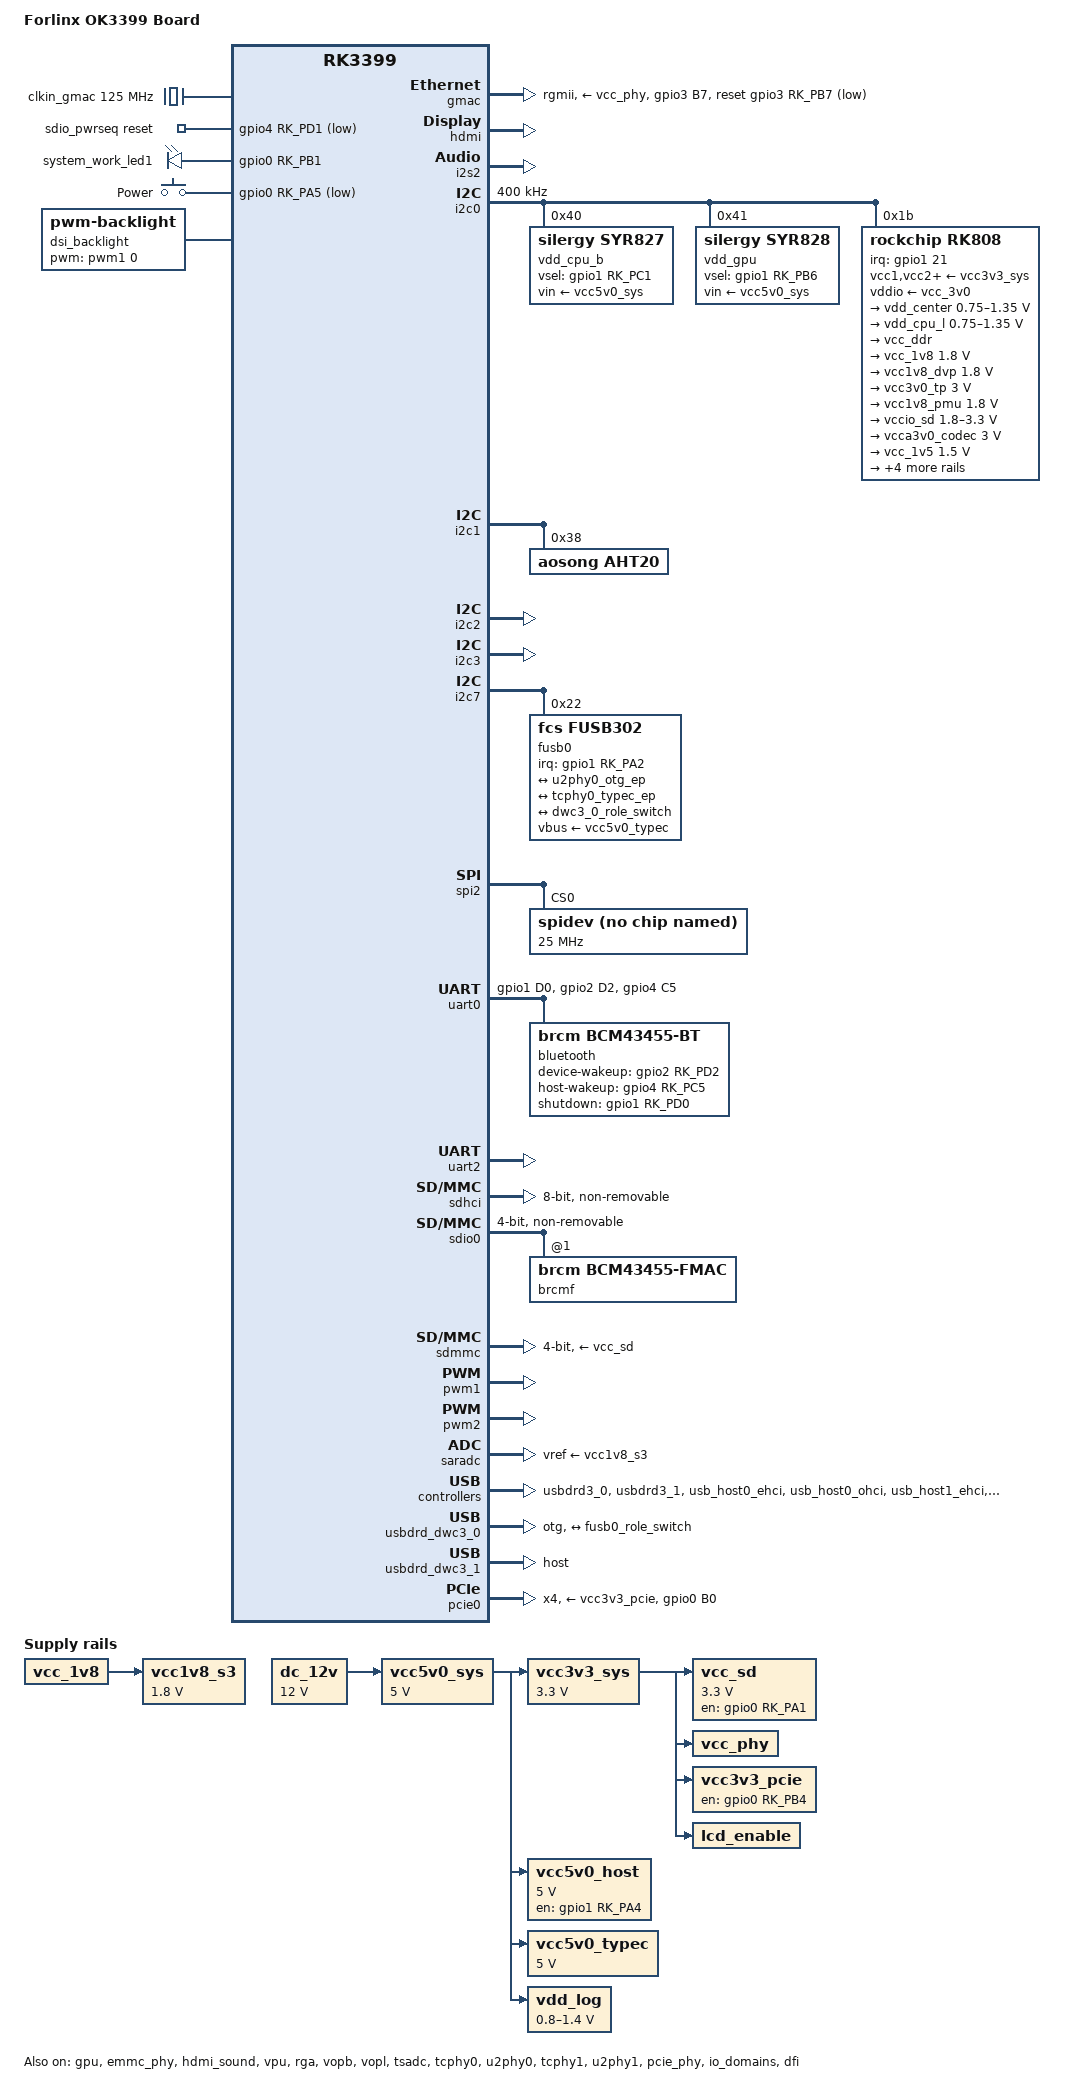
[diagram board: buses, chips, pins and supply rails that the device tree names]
// SPDX-License-Identifier: GPL-2.0+
/dts-v1/;
/*
 * Device Tree for Forlinx OK3399 core board (mainline style)
 * Based on: ok3399.dts (BSP) → mainline template adaptation
 * PMIC topology: RK808 + Syr827 (vdd_cpu_b) + Syr828 (vdd_gpu) — identical to NanoPC-T4
 *
 * REVISION NOTES (核验后修正):
 *   1. 补 dt-bindings/mipi/dsi.h（原文件必编译失败）
 *   2. 删除 uart0_gpios —— 它与 uart0_rts 争用 GPIO2_C3，会把 RTS 切成 GPIO
 *   3. 补蓝牙三个 GPIO 的 pinctrl mux
 *   4. 补 GMAC 复位脚 GPIO3_PB7 的 pinctrl（rgmii_pins 不含该脚）
 *   5. 删除重复的 HDMI 声卡，只保留 &hdmi_sound
 *   6. PCIe / USB host 供电挂上；删除死配置
 *   7. fusb302 属性改为标准 sink-pdos / op-sink-microwatt
 *
 * 所有标 "TODO(原理图)" 的地方必须对照底板原理图确认后才能上板。
 */

#include <dt-bindings/input/input.h>
#include <dt-bindings/input/linux-event-codes.h>
#include <dt-bindings/leds/common.h>
#include <dt-bindings/pwm/pwm.h>
#include <dt-bindings/usb/pd.h>
#include <dt-bindings/interrupt-controller/irq.h>
#include <dt-bindings/gpio/gpio.h>
/* NOTE: 主线 6.18 没有 dt-bindings/mipi/dsi.h（核验报告 FIX-1 给的路径是错的）。
 * MIPI_DSI_MODE_* 只定义在 include/drm/drm_mipi_dsi.h（C 头，dts 用不了），
 * 主线 rockchip dts 里也没有任何一块板用这些宏。DSI 面板段因此整体停用。 */
#include "rk3399.dtsi"

/ {
	model = "Forlinx OK3399 Board";
	compatible = "forlinx,ok3399", "rockchip,rk3399";

	aliases {
		ethernet0 = <&gmac>;
		mmc0 = <&sdhci>;
		mmc1 = <&sdmmc>;
		mmc2 = <&sdio0>;
	};

	chosen {
		stdout-path = "serial2:1500000n8";
	};

	/* ============ Fixed clocks ============ */
	clkin_gmac: external-gmac-clock {
		compatible = "fixed-clock";
		clock-frequency = <125000000>;
		clock-output-names = "clkin_gmac";
		#clock-cells = <0>;
	};

	ap6256_lpo_clk: ap6256-lpo-clock {
		compatible = "fixed-clock";
		clock-frequency = <32768>;
		clock-output-names = "ap6256_lpo_clk";
		#clock-cells = <0>;
	};

	/* ============ System regulators ============ */
	dc_12v: regulator-dc-12v {
		compatible = "regulator-fixed";
		regulator-name = "dc_12v";
		regulator-always-on;
		regulator-boot-on;
		regulator-min-microvolt = <12000000>;
		regulator-max-microvolt = <12000000>;
	};

	vcc5v0_sys: regulator-vcc5v0-sys {
		compatible = "regulator-fixed";
		regulator-name = "vcc5v0_sys";
		regulator-always-on;
		regulator-boot-on;
		regulator-min-microvolt = <5000000>;
		regulator-max-microvolt = <5000000>;
		vin-supply = <&dc_12v>;
	};

	vcc3v3_sys: regulator-vcc3v3-sys {
		compatible = "regulator-fixed";
		regulator-name = "vcc3v3_sys";
		regulator-always-on;
		regulator-boot-on;
		regulator-min-microvolt = <3300000>;
		regulator-max-microvolt = <3300000>;
		vin-supply = <&vcc5v0_sys>;
	};

	vcc5v0_host: regulator-vcc5v0-host {
		compatible = "regulator-fixed";
		regulator-name = "vcc5v0_host";
		regulator-min-microvolt = <5000000>;
		regulator-max-microvolt = <5000000>;
		/* FIX(厂商权威): VBUS 使能脚是 GPIO1_PA4，不是 GPIO4_PD1。
		 * 之前写成 GPIO4_PD1，跟 sdio-pwrseq 的 wifi-enable-h 是同一个脚，
		 * 导致 "pin gpio4-25 already requested ... cannot claim for sdio-pwrseq"
		 * ——WiFi 直接被抢死。厂商 ok3399.dts:385 确认 gpio = <&gpio1 RK_PA4>。 */
		enable-active-high;
		gpio = <&gpio1 RK_PA4 GPIO_ACTIVE_HIGH>;
		regulator-always-on;
		vin-supply = <&vcc5v0_sys>;
		pinctrl-names = "default";
		pinctrl-0 = <&host_vbus_drv>;
	};

	vcc5v0_typec: regulator-vcc5v0-typec {
		compatible = "regulator-fixed";
		regulator-name = "vcc5v0_typec";
		regulator-min-microvolt = <5000000>;
		regulator-max-microvolt = <5000000>;
		regulator-always-on;
		regulator-boot-on;
		vin-supply = <&vcc5v0_sys>;
	};

	vcc_sd: regulator-vcc-sd {
		compatible = "regulator-fixed";
		regulator-name = "vcc_sd";
		regulator-min-microvolt = <3300000>;
		regulator-max-microvolt = <3300000>;
		/* FIX(厂商权威): SD 卡电源由 GPIO0_PA1 控制，厂商 ok3399.dts:404 */
		enable-active-high;
		gpio = <&gpio0 RK_PA1 GPIO_ACTIVE_HIGH>;
		regulator-always-on;
		regulator-boot-on;
		vin-supply = <&vcc3v3_sys>;
		pinctrl-names = "default";
		pinctrl-0 = <&vcc_sd_h>;
	};

	vcc_phy: regulator-vcc-phy {
		compatible = "regulator-fixed";
		regulator-name = "vcc_phy";
		regulator-always-on;
		regulator-boot-on;
		vin-supply = <&vcc3v3_sys>;
	};

	vcc3v3_pcie: regulator-vcc3v3-pcie {
		compatible = "regulator-fixed";
		regulator-name = "vcc3v3_pcie";
		/* FIX(厂商权威): PCIe 3.3V 由 GPIO0_PB4 控制，厂商 ok3399.dts:356。
		 * 之前没有 gpio —— PCIe 槽压根没上电，这就是
		 * "PCIe link training gen1 timeout" 的真因。 */
		enable-active-high;
		gpio = <&gpio0 RK_PB4 GPIO_ACTIVE_HIGH>;
		regulator-always-on;
		regulator-boot-on;
		vin-supply = <&vcc3v3_sys>;
		pinctrl-names = "default";
		pinctrl-0 = <&pcie_drv>;
	};

	lcd_enable: regulator-lcd-enable {
		compatible = "regulator-fixed";
		regulator-name = "lcd_enable";
		regulator-always-on;
		regulator-boot-on;
		vin-supply = <&vcc3v3_sys>;
	};

	vcc1v8_s3: regulator-vcc1v8-s3 {
		compatible = "regulator-fixed";
		regulator-name = "vcc1v8_s3";
		regulator-always-on;
		regulator-boot-on;
		regulator-min-microvolt = <1800000>;
		regulator-max-microvolt = <1800000>;
		vin-supply = <&vcc_1v8>;
	};

	/* ============ VDD_LOG PWM regulator ============ */
	/* 注意：pwm2 的引脚由 rk3399.dtsi 默认为 GPIO1_C3 (pwm2_pin)。
	 * TODO(原理图): 确认 OK3399 的 vdd_log PWM 接在 GPIO1_C3，否则在 &pwm2 里覆盖 pinctrl-0 */
	vdd_log: vdd-log {
		compatible = "pwm-regulator";
		pwms = <&pwm2 0 25000 PWM_POLARITY_INVERTED>;
		regulator-name = "vdd_log";
		regulator-always-on;
		regulator-boot-on;
		regulator-min-microvolt = <800000>;
		regulator-max-microvolt = <1400000>;
		vin-supply = <&vcc5v0_sys>;
	};

	/* ============ SDIO (AP6256) power sequence ============ */
	sdio_pwrseq: sdio-pwrseq {
		compatible = "mmc-pwrseq-simple";
		clocks = <&ap6256_lpo_clk>;
		clock-names = "ext_clock";
		pinctrl-names = "default";
		pinctrl-0 = <&wifi_enable_h>;
		reset-gpios = <&gpio4 RK_PD1 GPIO_ACTIVE_LOW>;
		post-power-on-delay-ms = <100>;
	};

	/* ============ GPIO LEDs ============ */
	leds: gpio-leds {
		compatible = "gpio-leds";
		pinctrl-names = "default";
		pinctrl-0 = <&leds_gpio>;

		/* FIX: 原名 led@1 有 unit-address 却没有 reg，触发 dtc 警告 */
		led-1 {
			gpios = <&gpio0 RK_PB1 GPIO_ACTIVE_HIGH>;
			label = "system_work_led1";
			linux,default-trigger = "heartbeat";
		};
	};

	/* ============ Power key ============ */
	gpio-keys {
		compatible = "gpio-keys";
		autorepeat;
		pinctrl-names = "default";
		pinctrl-0 = <&pwr_key_pin>;

		button-power {
			debounce-interval = <10>;
			gpios = <&gpio0 RK_PA5 GPIO_ACTIVE_LOW>;
			label = "Power";
			linux,code = <KEY_POWER>;
			wakeup-source;
		};
	};

	/* ============ DSI Backlight (PWM) ============ */
	/* 注意：pwm1 默认引脚为 GPIO4_C6 (pwm1_pin)。
	 * TODO(原理图): 确认背光 PWM 实际接脚，不对就在 &pwm1 里覆盖 pinctrl-0 */
	dsi_backlight: dsi-backlight {
		compatible = "pwm-backlight";
		pwms = <&pwm1 0 25000 0>;
		brightness-levels = <0 255>;
		num-interpolated-steps = <100>;
		default-brightness-level = <80>;
		status = "okay";
	};

	/* FIX: 删除了原文件的 sound-hdmi (simple-audio-card)。
	 * rk3399.dtsi 自带的 &hdmi_sound 已经负责 HDMI 音频，两个同时存在会重复注册声卡。 */
};

/* ============ CPU / GPU power supplies ============ */
&cpu_l0 { cpu-supply = <&vdd_cpu_l>; };
&cpu_l1 { cpu-supply = <&vdd_cpu_l>; };
&cpu_l2 { cpu-supply = <&vdd_cpu_l>; };
&cpu_l3 { cpu-supply = <&vdd_cpu_l>; };
&cpu_b0 { cpu-supply = <&vdd_cpu_b>; };
&cpu_b1 { cpu-supply = <&vdd_cpu_b>; };

&gpu {
	mali-supply = <&vdd_gpu>;
	status = "okay";
};

&emmc_phy { status = "okay"; };

/* TODO: 若需要内存 devfreq，补 &dmc 节点（含 operating-points-v2、center-supply），
 * 否则 &dfi 单独启用没有意义，display-subsystem 的 devfreq 引用也是空转。 */

/* ============ Ethernet (RGMII) ============ */
&gmac {
	phy-supply = <&vcc_phy>;
	phy-mode = "rgmii";
	clock_in_out = "input";
	snps,reset-gpio = <&gpio3 RK_PB7 GPIO_ACTIVE_LOW>;
	snps,reset-active-low;
	snps,reset-delays-us = <0 10000 50000>;
	assigned-clocks = <&cru SCLK_RMII_SRC>;
	assigned-clock-parents = <&clkin_gmac>;
	pinctrl-names = "default";
	pinctrl-0 = <&rgmii_pins &phy_rst>;	/* FIX: rgmii_pins 不含 PB7，复位脚需单独 mux */
	tx_delay = <0x28>;
	rx_delay = <0x11>;
	status = "okay";
};

/* ============ HDMI ============ */
&hdmi {
	ddc-i2c-bus = <&i2c3>;
	pinctrl-names = "default";
	pinctrl-0 = <&hdmi_cec>;
	status = "okay";
};

&hdmi_sound { status = "okay"; };

&i2s2 {
	#sound-dai-cells = <0>;
	status = "okay";
};

/* ============ I2C0 — PMIC domain ============ */
&i2c0 {
	status = "okay";
	i2c-scl-rising-time-ns = <168>;
	i2c-scl-falling-time-ns = <4>;
	clock-frequency = <400000>;

	vdd_cpu_b: syr827@40 {
		compatible = "silergy,syr827";
		reg = <0x40>;
		vin-supply = <&vcc5v0_sys>;
		pinctrl-names = "default";
		pinctrl-0 = <&vsel1_gpio>;
		vsel-gpios = <&gpio1 RK_PC1 GPIO_ACTIVE_HIGH>;
		regulator-name = "vdd_cpu_b";
		regulator-min-microvolt = <712500>;
		regulator-max-microvolt = <1500000>;
		regulator-ramp-delay = <1000>;
		fcs,suspend-voltage-selector = <1>;
		regulator-always-on;
		regulator-boot-on;
		regulator-state-mem {
			regulator-off-in-suspend;
		};
	};

	vdd_gpu: syr828@41 {
		compatible = "silergy,syr828";
		reg = <0x41>;
		vin-supply = <&vcc5v0_sys>;
		pinctrl-names = "default";
		pinctrl-0 = <&vsel2_gpio>;
		vsel-gpios = <&gpio1 RK_PB6 GPIO_ACTIVE_HIGH>;
		regulator-name = "vdd_gpu";
		regulator-min-microvolt = <735000>;
		regulator-max-microvolt = <1400000>;
		regulator-ramp-delay = <1000>;
		fcs,suspend-voltage-selector = <1>;
		regulator-always-on;
		regulator-boot-on;
		regulator-state-mem {
			regulator-off-in-suspend;
		};
	};

	rk808: pmic@1b {
		compatible = "rockchip,rk808";
		reg = <0x1b>;
		interrupt-parent = <&gpio1>;
		interrupts = <21 IRQ_TYPE_LEVEL_LOW>;
		pinctrl-names = "default";
		pinctrl-0 = <&pmic_int_l>;
		system-power-controller;
		wakeup-source;
		#clock-cells = <1>;
		clock-output-names = "xin32k", "rk808-clkout2";

		/* TODO(原理图): 必须核对 RK808 各 VCC 引脚实际接的是 5V 还是 3.3V。
		 * NanoPC-T4 等板的 DCDC 输入多为 vcc5v0_sys；此处沿用原文件的 vcc3v3_sys，
		 * 接错会直接触发欠压保护。 */
		vcc1-supply = <&vcc3v3_sys>;
		vcc2-supply = <&vcc3v3_sys>;
		vcc3-supply = <&vcc3v3_sys>;
		vcc4-supply = <&vcc3v3_sys>;
		vcc6-supply = <&vcc3v3_sys>;
		vcc7-supply = <&vcc3v3_sys>;
		vcc8-supply = <&vcc3v3_sys>;
		vcc9-supply = <&vcc3v3_sys>;
		vcc10-supply = <&vcc3v3_sys>;
		vcc11-supply = <&vcc3v3_sys>;
		vcc12-supply = <&vcc3v3_sys>;
		vddio-supply = <&vcc_3v0>;

		regulators {
			vdd_center: DCDC_REG1 {
				regulator-name = "vdd_center";
				regulator-always-on;
				regulator-boot-on;
				regulator-min-microvolt = <750000>;
				regulator-max-microvolt = <1350000>;
				regulator-ramp-delay = <6001>;
				regulator-state-mem {
					regulator-off-in-suspend;
				};
			};

			vdd_cpu_l: DCDC_REG2 {
				regulator-name = "vdd_cpu_l";
				regulator-always-on;
				regulator-boot-on;
				regulator-min-microvolt = <750000>;
				regulator-max-microvolt = <1350000>;
				regulator-ramp-delay = <6001>;
				regulator-state-mem {
					regulator-off-in-suspend;
				};
			};

			vcc_ddr: DCDC_REG3 {
				regulator-name = "vcc_ddr";
				regulator-always-on;
				regulator-boot-on;
				regulator-state-mem {
					regulator-on-in-suspend;
				};
			};

			vcc_1v8: DCDC_REG4 {
				regulator-name = "vcc_1v8";
				regulator-always-on;
				regulator-boot-on;
				regulator-min-microvolt = <1800000>;
				regulator-max-microvolt = <1800000>;
				regulator-state-mem {
					regulator-on-in-suspend;
					regulator-suspend-microvolt = <1800000>;
				};
			};

			vcc1v8_dvp: LDO_REG1 {
				regulator-name = "vcc1v8_dvp";
				regulator-always-on;
				regulator-boot-on;
				regulator-min-microvolt = <1800000>;
				regulator-max-microvolt = <1800000>;
				regulator-state-mem {
					regulator-off-in-suspend;
				};
			};

			vcc3v0_tp: LDO_REG2 {
				regulator-name = "vcc3v0_tp";
				regulator-min-microvolt = <3000000>;
				regulator-max-microvolt = <3000000>;
				regulator-state-mem {
					regulator-off-in-suspend;
				};
			};

			vcc1v8_pmu: LDO_REG3 {
				regulator-name = "vcc1v8_pmu";
				regulator-always-on;
				regulator-boot-on;
				regulator-min-microvolt = <1800000>;
				regulator-max-microvolt = <1800000>;
				regulator-state-mem {
					regulator-on-in-suspend;
					regulator-suspend-microvolt = <1800000>;
				};
			};

			vccio_sd: LDO_REG4 {
				regulator-name = "vccio_sd";
				regulator-always-on;
				regulator-boot-on;
				regulator-min-microvolt = <1800000>;
				/* FIX: 3000000 -> 3300000。io_domains 的 sdmmc-supply 要 3.3V，
				 * 上限只到 3.0V 就会一直刷
				 * "vccio_sd: unsupportable voltage range: 3300000-3000000uV"。
				 * RK808 LDO 硬件范围是 1.8V-3.4V，nanopi4 官方 dts 也写 3300000。
				 * （vcc_sd 是 LDO_REG4，不是 vccio_sd —— 名字别混） */
				regulator-max-microvolt = <3300000>;
				regulator-state-mem {
					regulator-on-in-suspend;
					regulator-suspend-microvolt = <3000000>;
				};
			};

			vcca3v0_codec: LDO_REG5 {
				regulator-name = "vcca3v0_codec";
				regulator-always-on;
				regulator-boot-on;
				regulator-min-microvolt = <3000000>;
				regulator-max-microvolt = <3000000>;
				regulator-state-mem {
					regulator-off-in-suspend;
				};
			};

			vcc_1v5: LDO_REG6 {
				regulator-name = "vcc_1v5";
				regulator-min-microvolt = <1500000>;
				regulator-max-microvolt = <1500000>;
				regulator-state-mem {
					regulator-off-in-suspend;
				};
			};

			vcca1v8_codec: LDO_REG7 {
				regulator-name = "vcca1v8_codec";
				regulator-always-on;
				regulator-boot-on;
				regulator-min-microvolt = <1800000>;
				regulator-max-microvolt = <1800000>;
				regulator-state-mem {
					regulator-off-in-suspend;
				};
			};

			vcc_3v0: LDO_REG8 {
				regulator-name = "vcc_3v0";
				/* FIX: 这是 RK808 自己的 vddio 电源，必须常开 */
				regulator-always-on;
				regulator-boot-on;
				regulator-min-microvolt = <3000000>;
				regulator-max-microvolt = <3000000>;
				regulator-state-mem {
					regulator-on-in-suspend;
					regulator-suspend-microvolt = <3000000>;
				};
			};

			vcc3v3_s3: SWITCH_REG1 {
				regulator-name = "vcc3v3_s3";
				regulator-always-on;
				regulator-boot-on;
				regulator-state-mem {
					regulator-off-in-suspend;
				};
			};

			vcc3v3_s0: SWITCH_REG2 {
				regulator-name = "vcc3v3_s0";
				regulator-always-on;
				regulator-boot-on;
				regulator-state-mem {
					regulator-off-in-suspend;
				};
			};
		};
	};
};

/* ============ I2C1 — AHT20 humidity sensor ============ */
&i2c1 {
	status = "okay";
	i2c-scl-rising-time-ns = <300>;
	i2c-scl-falling-time-ns = <15>;

	aht20: humidity-sensor@38 {
		compatible = "aosong,aht20";
		reg = <0x38>;
	};
};

/* ============ I2C2 — free ============ */
&i2c2 {
	status = "okay";
	i2c-scl-rising-time-ns = <300>;
	i2c-scl-falling-time-ns = <15>;
};

/* ============ I2C3 — HDMI DDC ============ */
&i2c3 {
	status = "okay";
	i2c-scl-rising-time-ns = <450>;
	i2c-scl-falling-time-ns = <15>;
};

/* ============ I2C7 — FUSB302 Type-C PD ============ */
&i2c7 {
	status = "okay";
	i2c-scl-rising-time-ns = <300>;
	i2c-scl-falling-time-ns = <15>;

	fusb0: fusb302@22 {
		compatible = "fcs,fusb302";
		reg = <0x22>;
		interrupt-parent = <&gpio1>;
		interrupts = <RK_PA2 IRQ_TYPE_LEVEL_LOW>;
		pinctrl-names = "default";
		pinctrl-0 = <&fusb0_int>;
		vbus-supply = <&vcc5v0_typec>;
		status = "okay";

		connector {
			compatible = "usb-c-connector";
			label = "USB-C";
			data-role = "dual";
			power-role = "dual";
			try-power-role = "sink";
			/* FIX: 原 operating-mv / operating-uA 不是 usb-c-connector 的标准属性 */
			sink-pdos = <PDO_FIXED(5000, 3000, PDO_FIXED_USB_COMM)>;
			op-sink-microwatt = <15000000>;
			/* FIX: power-role="dual"(DRP) 时 tcpm 强制要求 source-pdos，
			 * 缺了就 "cannot register tcpm port" (-EINVAL)。
			 * 见 drivers/usb/typec/tcpm/tcpm.c tcpm_fw_get_caps():
			 *   if (port->port_type != TYPEC_PORT_SNK) { count_u32("source-pdos"); if (ret==0) -EINVAL }
			 * 若这个口只想做受电，把 power-role 改成 "sink" 并删掉本行。 */
			source-pdos = <PDO_FIXED(5000, 3000, PDO_FIXED_USB_COMM)>;

			ports {
				#address-cells = <1>;
				#size-cells = <0>;

				port@0 {
					reg = <0>;
					usb_con_hs: endpoint {
						remote-endpoint = <&u2phy0_otg_ep>;
					};
				};

				port@1 {
					reg = <1>;
					usb_con_ss: endpoint {
						remote-endpoint = <&tcphy0_typec_ep>;
					};
				};

				/* 角色切换端点：与 &usbdrd_dwc3_0 的 usb-role-switch 配对。
				 * 若你的内核 fusb302 走 extcon 路线，删除本 port 与 dwc3 的
				 * usb-role-switch/port，改为 extcon = <&fusb0> 即可。 */
				port@2 {
					reg = <2>;
					fusb0_role_switch: endpoint {
						remote-endpoint = <&dwc3_0_role_switch>;
					};
				};
			};
		};
	};
};

/* ============ SPI2 — spidev ============ */
&spi2 {
	status = "okay";

	/* FIX: "spidev" compatible 已被主线弃用，保留 rohm,dh2228fv 即可被 spidev 驱动接管 */
	spidev@0 {
		compatible = "rohm,dh2228fv";
		reg = <0>;
		spi-max-frequency = <25000000>;
	};
};

/* ============ UART0 — Bluetooth ============ */
&uart0 {
	pinctrl-names = "default";
	pinctrl-0 = <&uart0_xfer &uart0_cts &uart0_rts &bt_gpios>;
	status = "okay";

	bluetooth {
		compatible = "brcm,bcm43455-bt";
		clocks = <&ap6256_lpo_clk>;
		clock-names = "lpo";
		device-wakeup-gpios = <&gpio2 RK_PD2 GPIO_ACTIVE_HIGH>;
		host-wakeup-gpios = <&gpio4 RK_PC5 GPIO_ACTIVE_HIGH>;
		shutdown-gpios = <&gpio1 RK_PD0 GPIO_ACTIVE_HIGH>;
		/* FIX: 原文件在此引用 uart0_gpios，该组把 GPIO2_C3(=UART0_RTS) 切成 GPIO，
		 * 与 &uart0 的 uart0_rts 直接冲突，已删除。三个 BT 控制脚统一由 bt_gpios 配置。 */
	};
};

/* ============ UART2 — Debug console ============ */
&uart2 { status = "okay"; };

/* ============ Multimedia ============
 * 删掉了 &rkvdec / &iep / &iep_mmu / &pvtm —— 这四个是 Rockchip 4.4 BSP 专有节点，
 * mainline 6.18 的 rk3399-base.dtsi 里根本没有（label 不存在 -> dtc FATAL）。
 * mainline 对应能力：VPU 走 &vpu（hantro）、RGA 走 &rga、视频解码走 vdec 的
 * rockchip-vdec 节点（主线命名不同，需要时另行添加）。 */
&vpu { status = "okay"; };
&rga { status = "okay"; };

/* ============ Display: VOP + HDMI + DSI ============ */
&vopb_mmu { status = "okay"; };
&vopl_mmu { status = "okay"; };

&vopb {
	status = "okay";
};

&vopl {
	status = "okay";
};

/* 内核版本注意：主线 6.6+ 的 rk3399-base.dtsi 中该节点标签为 &mipi_dsi，
 * 旧内核（rk3399.dtsi 未拆分）为 &dsi。按你的内核版本二选一。 */
/* DSI 停用（HDMI 优先）。启用前需满足两个前提：
 *   1) 给 drivers/gpu/drm/panel/panel-simple.c 加 innolux,p070acb-ab1 条目
 *      （1024x600 / MIPI 4-lane / RGB888，时序见下方 panel-timing）；
 *   2) dsi,flags / dsi,format 需要 MIPI_DSI_* 宏，主线 6.18 无 dts 版头文件，
 *      要么改用数值，要么等上游添加 dt-bindings/mipi/dsi.h。
 * 在此之前保持 disabled，避免 panel@0 不 probe 拖住 DSI 主机。 */
&mipi_dsi {
	/* 同上：panel@0 的 reg=<0> 需要 1 个 address cell */
	#address-cells = <1>;
	#size-cells = <0>;
	status = "disabled";

	panel@0 {
		/* TODO(驱动): "innolux,p070acb-ab1" 不在主线 panel-simple.c 中，
		 * "simple-panel-dsi" 也不是可用 fallback。二选一：
		 *   a) 给 panel-simple.c 增加该面板条目（1024x600, MIPI 4-lane, RGB888）；
		 *   b) 换成主线已有的、时序兼容的面板 compatible。
		 * 未落地前，DSI 面板不会 probe。 */
		compatible = "innolux,p070acb-ab1";
		reg = <0>;
		backlight = <&dsi_backlight>;
		power-supply = <&lcd_enable>;

		/* dsi,flags / dsi,format 需要 MIPI_DSI_* 宏，主线无 dts 版头文件，暂不写 */
		dsi,lanes = <4>;

		/* 主线 panel-simple 现推荐 panel-timing（原 display-timings 为老式绑定） */
		panel-timing {
			clock-frequency = <64000000>;
			hactive = <1024>;
			vactive = <600>;
			hback-porch = <48>;
			hfront-porch = <40>;
			vback-porch = <16>;
			vfront-porch = <40>;
			hsync-len = <48>;
			vsync-len = <3>;
			hsync-active = <0>;
			vsync-active = <0>;
			de-active = <0>;
			pixelclk-active = <0>;
		};
	};
};

/* ============ Storage ============ */
&sdhci {
	bus-width = <8>;
	mmc-hs400-1_8v;
	mmc-hs400-enhanced-strobe;
	keep-power-in-suspend;
	non-removable;
	status = "okay";
};

&sdio0 {
	/* 显式声明，否则 wifi@1 的 reg=<1> 会被按 #address-cells=2 解析 -> reg_format warning */
	#address-cells = <1>;
	#size-cells = <0>;
	clock-frequency = <50000000>;
	clock-freq-min-max = <200000 50000000>;
	supports-sdio;
	bus-width = <4>;
	disable-wp;
	cap-sd-highspeed;
	cap-sdio-irq;
	keep-power-in-suspend;
	mmc-pwrseq = <&sdio_pwrseq>;
	non-removable;
	num-slots = <1>;
	pinctrl-names = "default";
	pinctrl-0 = <&sdio0_bus4 &sdio0_cmd &sdio0_clk>;
	sd-uhs-sdr104;
	status = "okay";

	brcmf: wifi@1 {
		compatible = "brcm,bcm43455-fmac";
		reg = <1>;
	};
};

&sdmmc {
	clock-frequency = <150000000>;
	clock-freq-min-max = <100000 150000000>;
	supports-sd;
	bus-width = <4>;
	cap-mmc-highspeed;
	cap-sd-highspeed;
	disable-wp;
	num-slots = <1>;
	vmmc-supply = <&vcc_sd>;
	vqmmc-supply = <&vccio_sd>;
	pinctrl-names = "default";
	pinctrl-0 = <&sdmmc_clk &sdmmc_cmd &sdmmc_cd &sdmmc_bus4>;
	status = "okay";
};

/* ============ Thermal ============ */
&tsadc {
	rockchip,hw-tshut-mode = <1>;
	rockchip,hw-tshut-polarity = <1>;
	status = "okay";
};

/* ============ PWM ============ */
/* FIX: pwm0 无消费者，且会占用 GPIO4_C2，默认不启用 */
&pwm1 { status = "okay"; };
&pwm2 { status = "okay"; };

/* ============ SARADC ============ */
&saradc {
	vref-supply = <&vcc1v8_s3>;
	status = "okay";
};

/* ============ Type-C / USB PHY ============ */
&tcphy0 {
	extcon = <&fusb0>;
	status = "okay";

	ports {
		#address-cells = <1>;
		#size-cells = <0>;

		port@1 {
			reg = <1>;
			tcphy0_typec_ep: endpoint {
				remote-endpoint = <&usb_con_ss>;
			};
		};
	};
};

&u2phy0 {
	status = "okay";
	u2phy0_otg: otg-port {
		status = "okay";
		extcon = <&fusb0>;
		u2phy0_otg_ep: endpoint {
			remote-endpoint = <&usb_con_hs>;
		};
	};
	u2phy0_host: host-port {
		phy-supply = <&vcc5v0_host>;
		status = "okay";
	};
};

&usbdrd3_0 {
	status = "okay";
};

&usbdrd_dwc3_0 {
	status = "okay";
	dr_mode = "otg";
	usb-role-switch;
	port {
		dwc3_0_role_switch: endpoint {
			remote-endpoint = <&fusb0_role_switch>;
		};
	};
};

/* ============ USB 2.0 Host 1 ============ */
&tcphy1 { status = "okay"; };

&u2phy1 {
	status = "okay";
	u2phy1_otg: otg-port { status = "okay"; };
	u2phy1_host: host-port {
		phy-supply = <&vcc5v0_host>;	/* FIX: 原为 vcc5v0_sys，vcc5v0_host 成了死节点 */
		status = "okay";
	};
};

&usbdrd3_1 { status = "okay"; };
&usbdrd_dwc3_1 { status = "okay"; dr_mode = "host"; };

&usb_host0_ehci { status = "okay"; };
&usb_host0_ohci { status = "okay"; };
&usb_host1_ehci { status = "okay"; };
&usb_host1_ohci { status = "okay"; };

/* ============ PCIe ============ */
&pcie_phy { status = "okay"; };

&pcie0 {
	ep-gpios = <&gpio0 RK_PB0 GPIO_ACTIVE_HIGH>;
	num-lanes = <4>;
	max-link-speed = <1>;			/* FIX: RK3399 官方只保 Gen1，Gen2 需实测 */
	vpcie3v3-supply = <&vcc3v3_pcie>;	/* FIX: 原 vcc3v3_pcie 定义了却没人引用 */
	pinctrl-names = "default";
	pinctrl-0 = <&pcie_reset>;
	status = "okay";
};

/* ============ IO domains ============ */
&io_domains {
	status = "okay";
	bt656-supply = <&vcc1v8_dvp>;
	audio-supply = <&vcca1v8_codec>;
	sdmmc-supply = <&vccio_sd>;
	gpio1830-supply = <&vcc_1v8>;
};

&pmu_io_domains {
	status = "okay";
	pmu1830-supply = <&vcc_1v8>;
};

/* ============ DFI / DMC ============ */
&dfi { status = "okay"; };

/* ============ Pinctrl ============ */
&pinctrl {
	/* Keys */
	keys {
		pwr_key_pin: pwr-key-pin {
			rockchip,pins = <0 RK_PA5 RK_FUNC_GPIO &pcfg_pull_up>;
		};
	};

	/* SDIO power sequence */
	sdio-pwrseq {
		wifi_enable_h: wifi-enable-h {
			rockchip,pins = <4 RK_PD1 RK_FUNC_GPIO &pcfg_pull_none>;
		};
	};

	/* FIX: 新增蓝牙控制脚 mux（原文件完全没有，依赖上电默认值不可靠） */
	bluetooth {
		bt_gpios: bt-gpios {
			rockchip,pins =
				<1 RK_PD0 RK_FUNC_GPIO &pcfg_pull_none>,	/* BT_REG_ON  */
				<2 RK_PD2 RK_FUNC_GPIO &pcfg_pull_none>,	/* BT_WAKE    */
				<4 RK_PC5 RK_FUNC_GPIO &pcfg_pull_down>;	/* BT_HOST_WAKE */
		};
	};

	/* GMAC PHY reset: rgmii_pins 不含 PB7，必须单独配 */
	gmac {
		phy_rst: phy-rst {
			rockchip,pins = <3 RK_PB7 RK_FUNC_GPIO &pcfg_pull_none>;
		};
	};

	/* USB host VBUS 使能 = GPIO1_PA4（厂商 ok3399.dts:1626）
	 * 注意：GPIO4_PD1 是 WiFi 的 wifi-enable-h，两者不能混用 */
	usb2 {
		host_vbus_drv: host-vbus-drv {
			rockchip,pins = <1 RK_PA4 RK_FUNC_GPIO &pcfg_pull_none>;
		};
	};

	/* SD 卡电源使能 = GPIO0_PA1（厂商 ok3399.dts:1633） */
	vcc_sd {
		vcc_sd_h: vcc-sd-h {
			rockchip,pins = <0 RK_PA1 RK_FUNC_GPIO &pcfg_pull_up>;
		};
	};

	/* PMIC domain */
	pmic {
		pmic_int_l: pmic-int-l {
			rockchip,pins = <1 RK_PC5 RK_FUNC_GPIO &pcfg_pull_up>;
		};

		vsel1_gpio: vsel1-gpio {
			rockchip,pins = <1 RK_PC1 RK_FUNC_GPIO &pcfg_pull_down>;
		};

		vsel2_gpio: vsel2-gpio {
			rockchip,pins = <1 RK_PB6 RK_FUNC_GPIO &pcfg_pull_down>;
		};
	};

	/* FUSB302 */
	fusb30x {
		fusb0_int: fusb0-int {
			rockchip,pins = <1 RK_PA2 RK_FUNC_GPIO &pcfg_pull_up>;
		};
	};

	/* PCIe：pcie_drv = 3V3 使能(GPIO0_PB4)，pcie_reset = PERST#(GPIO0_PB0)
	 * 两者都是厂商 ok3399.dts:1648-1656 的权威值 */
	pcie {
		pcie_drv: pcie-drv {
			rockchip,pins = <0 RK_PB4 RK_FUNC_GPIO &pcfg_pull_up>;
		};

		pcie_reset: pcie-reset {
			rockchip,pins = <0 RK_PB0 RK_FUNC_GPIO &pcfg_pull_none>;
		};
	};

	/* LED */
	leds {
		leds_gpio: leds-gpio {
			rockchip,pins = <0 RK_PB1 RK_FUNC_GPIO &pcfg_pull_none>;
		};
	};
};
